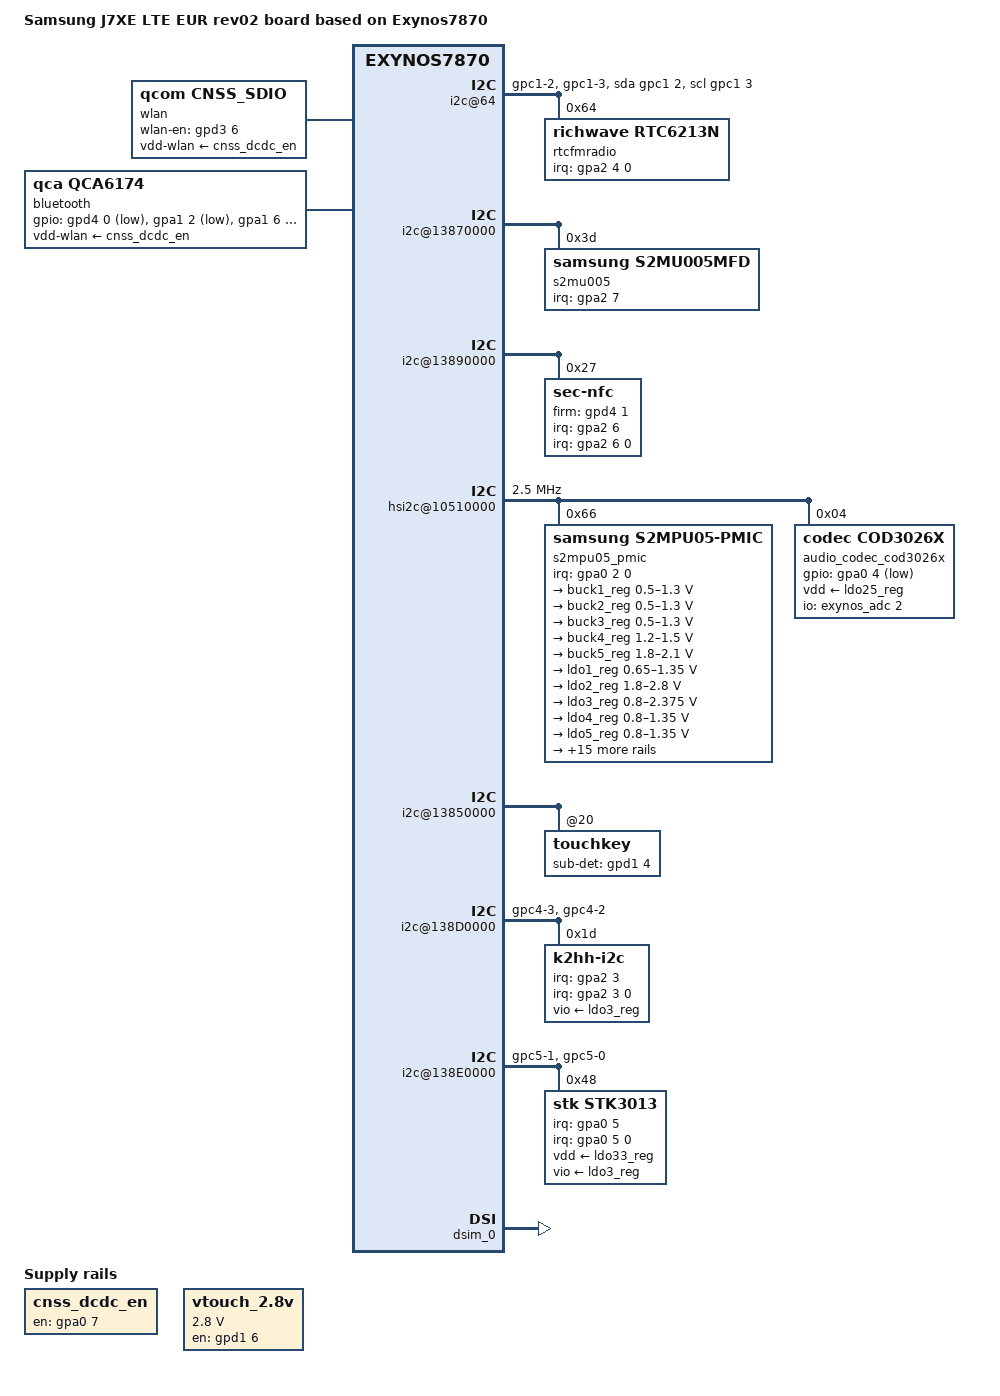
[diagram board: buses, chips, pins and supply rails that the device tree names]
/*
 * SAMSUNG UNIVERSAL8890 board device tree source
 *
 * Copyright (c) 2013 Samsung Electronics Co., Ltd.
 *		http://www.samsung.com
 *
 * This program is free software; you can redistribute it and/or modify
 * it under the terms of the GNU General Public License version 2 as
 * published by the Free Software Foundation.
*/

/dts-v1/;
#include "exynos7870-j7xelte_common.dtsi"
#include "modem-ss315ap-pdata.dtsi"
#include "exynos7870-j7xelte_eur_open_gpio_02.dtsi"
#include "exynos7870-j7xelte_eur_open_battery_01.dtsi"

/ {
	model = "Samsung J7XE LTE EUR rev02 board based on Exynos7870";
        model_info-chip = <7870>;
        model_info-platform = "android";
        model_info-subtype = "samsung";
        model_info-hw_rev = <2>;
        model_info-hw_rev_end = <2>;
	compatible = "samsung, J7XE LTE EUR OPEN 02", "samsung,exynos7870";

	i2c@64{
		compatible = "i2c-gpio";
		gpios = <&gpc1 2 0 /* sda */
				&gpc1 3 0 /* scl */
				>;
		i2c-gpio,delay-us = <2>;
		#address-cells = <1>;
		#size-cells = <0>;
		status = "okay";
		pinctrl-names = "default";
		pinctrl-0 = <&fmradio_i2c>;
		rtcfmradio@64 {
			compatible = "richwave,rtc6213n", "rtc6213n";
			reg = <0x64>;
			interrupts = <4 0 0>;
			interrupt-parent = <&gpa2>;
			pinctrl-names = "default";
			pinctrl-0 = <&fmradio_irq>;
		};
	};
		
	cnss_dcdc_en: cnss_dcdc_en {
		compatible = "regulator-fixed";
		regulator-name = "cnss_dcdc_en";
		startup-delay-us = <4000>;
		enable-active-high;
		gpio = <&gpa0 7 0>;
	};

	dwmmc2@13560000 {
		card-detect-invert-gpio;
	};

	i2c@13870000 {
		status = "okay";
		samsung,i2c-sda-delay = <100>;
		samsung,i2c-max-bus-freq = <400000>;

		s2mu005@3d {
			compatible = "samsung,s2mu005mfd";
			reg = <0x3d>;
			pinctrl-names = "default";
			pinctrl-0 = <&if_pmic_irq>;
			s2mu005,irq-gpio = <&gpa2 7 0>;
			s2mu005,wakeup;

			leds {
				flash-gpio = <&gpd3 2 0>;
				torch-gpio = <&gpd3 3 0>;

				flash_current = <1200>;
				preflash_current = <150>;
				movie_current = <175>; /*unused*/
				torch_current = <75>;
				factory_current = <300>;
				front_torch_current = <50>;

				status = "okay";
				s2mu005-leds1 {
					ledname = "leds-sec1";
					id = <0>;
					timeout = <15>; /* use gpio */
				};

				s2mu005-leds2 {
					ledname = "leds-sec2";
					id = <1>;
					timeout = <15>; /* use gpio */
				};
			};
		};
	};

	i2c@13890000{
		samsung,i2c-sda-delay = <100>;
		samsung,i2c-max-bus-freq = <300000>;
		status = "okay";
		#address-cells = <1>;
		#size-cells = <0>;

		sec-nfc@27 {
			compatible = "sec-nfc";
			reg = <0x27>;
			interrupts = <6 0 0>;
			interrupt-parent = <&gpa2>;
			sec-nfc,nfc_pd = <&gpc2 2 0x2>;
			sec-nfc,firm-gpio = <&gpd4 1 0>;
			sec-nfc,irq-gpio = <&gpa2 6 0>;
			clkctrl-reg = <0x1048600C>;
			sec-nfc,nfc_clkreq = <&gpc2 3 0x2>;
			sec-nfc,check_nfc = <&gpd1 2 0x0>;
			pinctrl-names = "default";
			pinctrl-0 = <&nfc_n5_firm &nfc_n5_clk_req &nfc_pd &nfc_int &ese_pvdd_en &nfc_det>;
		};
	};

	but_zones: but_zones {
		#list-but-cells = <3>;
	};	

	hsi2c@10510000 {
		status = "okay";
		samsung,hs-mode;
		clock-frequency = <2500000>;
		samsung,hsi2c-batcher;
		#address-cells = <1>;
		#size-cells = <0>;

		s2mpu05_pmic@66 {
			compatible = "samsung,s2mpu05-pmic";
			reg = <0x66>;
			ten-bit-address;
			interrupts = <2 0 0>;
			interrupt-parent = <&gpa0>;
			pinctrl-names = "default";
			pinctrl-0 = <&pmic_irq &pm_wrsti>;
			g3d_en = <1>; /* 1 : enable , 0 : disable */
			buck2en_pin = "etc1-3";
			buck2en_addr = "139B0080.pinctrl";
			/* RTC: wtsr/smpl */
			wtsr_en = <1>; /* enable */
			smpl_en = <1>; /* enable */
			wtsr_timer_val = <3>;   /* 1000ms */
			smpl_timer_val = <4>;   /* 500ms */
			check_jigon = <0>; /* do not check jigon */
			/* RTC: If it's first boot, reset rtc to 1/1/2016 12:00:00(Fri) */
			init_time,sec = <0>;
			init_time,min = <0>;
			init_time,hour = <12>;
			init_time,mday = <1>;
			init_time,mon = <0>;
			init_time,year = <116>;
			init_time,wday = <5>;

			regulators {
				buck1_reg: BUCK1 {
					regulator-name = "BUCK1";
					regulator-min-microvolt = <500000>;
					regulator-max-microvolt = <1300000>;
					regulator-always-on;
					regulator-boot-on;
					regulator-ramp-delay = <12000>;
					regulator-initial-mode = <1>;
					regulator-expected-consumer = <2>;
				};

				buck2_reg: BUCK2 {
					regulator-name = "BUCK2";
					regulator-min-microvolt = <500000>;
					regulator-max-microvolt = <1300000>;
					regulator-always-on;
					regulator-boot-on;
					regulator-ramp-delay = <12000>;
					regulator-initial-mode = <2>;		/* MIF mode */
					regulator-expected-consumer = <4>;
				};

				buck3_reg: BUCK3 {
					regulator-name = "BUCK3";
					regulator-min-microvolt = <500000>;
					regulator-max-microvolt = <1300000>;
					regulator-always-on;
					regulator-boot-on;
					regulator-ramp-delay = <12000>;
					regulator-initial-mode = <2>;
				};

				buck4_reg: BUCK4 {
					regulator-name = "BUCK4";
					regulator-min-microvolt = <1200000>;
					regulator-max-microvolt = <1500000>;
					regulator-always-on;
					regulator-boot-on;
					regulator-ramp-delay = <12000>;
					regulator-initial-mode = <2>;
				};

				buck5_reg: BUCK5 {
					regulator-name = "BUCK5";
					regulator-min-microvolt = <1800000>;
					regulator-max-microvolt = <2100000>;
					regulator-always-on;
					regulator-boot-on;
					regulator-ramp-delay = <12000>;
					regulator-initial-mode = <2>;
				};

				ldo1_reg: LDO1 {
					regulator-name = "vdd_ldo1";
					regulator-min-microvolt = <650000>;
					regulator-max-microvolt = <1350000>;
					regulator-always-on;
					regulator-boot-on;
					regulator-ramp-delay = <12000>;
					regulator-initial-mode = <3>;
				};

				ldo2_reg: LDO2 {
					regulator-name = "vqmmc";
					regulator-min-microvolt = <1800000>;
					regulator-max-microvolt = <2800000>;
					regulator-ramp-delay = <12000>;
					regulator-initial-mode = <0>;
				};

				ldo3_reg: LDO3 {
					regulator-name = "vdd_ldo3";
					regulator-min-microvolt = <800000>;
					regulator-max-microvolt = <2375000>;
					regulator-boot-on;
					regulator-always-on;
					regulator-ramp-delay = <12000>;
					regulator-initial-mode = <3>;
				};

				ldo4_reg: LDO4 {
					regulator-name = "vdd_ldo4";
					regulator-min-microvolt = <800000>;
					regulator-max-microvolt = <1350000>;
					regulator-boot-on;
					regulator-always-on;
					regulator-ramp-delay = <12000>;
					regulator-initial-mode = <1>;
				};

				ldo5_reg: LDO5 {
					regulator-name = "vdd_ldo5";
					regulator-min-microvolt = <800000>;
					regulator-max-microvolt = <1350000>;
					regulator-boot-on;
					regulator-always-on;
					regulator-ramp-delay = <12000>;
					regulator-initial-mode = <3>;
				};

				ldo6_reg: LDO6 {
					regulator-name = "vdd_ldo6";
					regulator-min-microvolt = <800000>;
					regulator-max-microvolt = <1350000>;
					regulator-boot-on;
					regulator-always-on;
					regulator-ramp-delay = <12000>;
					regulator-initial-mode = <1>;
				};

				ldo7_reg: LDO7 {
					regulator-name = "vdd_ldo7";
					regulator-min-microvolt = <800000>;
					regulator-max-microvolt = <2375000>;
					regulator-boot-on;
					regulator-always-on;
					regulator-ramp-delay = <12000>;
					regulator-initial-mode = <1>;
				};

				ldo8_reg: LDO8 {
					regulator-name = "vdd_ldo8";
					regulator-min-microvolt = <1800000>;
					regulator-max-microvolt = <3375000>;
					regulator-boot-on;
					regulator-always-on;
					regulator-ramp-delay = <12000>;
					regulator-initial-mode = <1>;
				};

				ldo9_reg: LDO9 {
					regulator-name = "vdd_ldo9";
					regulator-min-microvolt = <650000>;
					regulator-max-microvolt = <1350000>;
					regulator-always-on;
					regulator-ramp-delay = <12000>;
					regulator-initial-mode = <1>;
				};

				ldo10_reg: LDO10 {
					regulator-name = "vdd_ldo10";
					regulator-min-microvolt = <650000>;
					regulator-max-microvolt = <1350000>;
					regulator-always-on;
					regulator-ramp-delay = <12000>;
					regulator-initial-mode = <1>;
				};

				ldo25_reg: LDO25 {
					regulator-name = "vdd_ldo25";
					regulator-min-microvolt = <800000>;
					regulator-max-microvolt = <2375000>;
					regulator-ramp-delay = <12000>;
					regulator-initial-mode = <1>;
				};

				ldo26_reg: LDO26 {
					regulator-name = "vemmc";
					regulator-min-microvolt = <1800000>;
					regulator-max-microvolt = <3375000>;
					regulator-boot-on;
					regulator-ramp-delay = <12000>;
					regulator-initial-mode = <3>;
				};

				ldo27_reg: LDO27 {
					regulator-name = "vqemmc";
					regulator-min-microvolt = <800000>;
					regulator-max-microvolt = <2375000>;
					regulator-boot-on;
					regulator-ramp-delay = <12000>;
					regulator-initial-mode = <3>;
				};

				ldo29_reg: LDO29 {
					regulator-name = "LCD_3P0";
					regulator-min-microvolt = <3000000>;
					regulator-max-microvolt = <3000000>;
					regulator-boot-on;
					regulator-ramp-delay = <12000>;
					regulator-initial-mode = <3>;
				};

				ldo30_reg: LDO30 {
					regulator-name = "LCD_1P8";
					regulator-min-microvolt = <1800000>;
					regulator-max-microvolt = <1800000>;
					regulator-boot-on;
					regulator-ramp-delay = <12000>;
					regulator-initial-mode = <3>;
				};

				ldo31_reg: LDO31 {
					regulator-name = "vdd_ldo31";
					regulator-min-microvolt = <1800000>;
					regulator-max-microvolt = <3375000>;
					regulator-boot-on;
					regulator-always-on;
					regulator-ramp-delay = <12000>;
					regulator-initial-mode = <1>;
				};

				ldo32_reg: LDO32 {
					regulator-name = "VDD_MOTOR_3.3";
					regulator-min-microvolt = <3300000>;
					regulator-max-microvolt = <3300000>;
					regulator-ramp-delay = <12000>;
				};

				ldo33_reg: LDO33 {
					regulator-name = "vdd_sensor_3p3";
					regulator-min-microvolt = <3300000>;
					regulator-max-microvolt = <3300000>;
					regulator-ramp-delay = <12000>;
					regulator-initial-mode = <3>;
				};

				ldo34_reg: LDO34 {
					regulator-name = "tsp_dvdd";
					regulator-min-microvolt = <3300000>;
					regulator-max-microvolt = <3300000>;
					regulator-ramp-delay = <12000>;
					regulator-initial-mode = <1>;
				};

				ldo35_reg: LDO35 {
					regulator-name = "VDD_CAM_SENSOR_A2P8";
					regulator-min-microvolt = <2800000>;
					regulator-max-microvolt = <2800000>;
					regulator-initial-mode = <0>;
				};
			};
		};

		audio_codec_cod3026x: cod3026x@04 {
			compatible = "codec,cod3026x";
			reg = <0x04>;
			ten-bit-address;
			vdd-supply = <&ldo25_reg>;
			pinctrl-names = "default";
			pinctrl-0 = <&cod3026_irq>;
			interrupt-parent = <&gpa0>;
			gpios = <&gpa0 4 0xf>;
			mic-bias1-voltage = <1>;
			mic-bias2-voltage = <1>;
			mic-bias-ldo-voltage = <3>;
			use-det-adc-mode;
			io-channels = <&exynos_adc 2>;
			io-channel-names = "adc-jack";
			#io-channel-cells = <1>;
			io-channel-ranges;
			but-zones-list = <&but_zones 226 0 203>, /* send/end */
					<&but_zones 582 204 290>, /* google */
					<&but_zones 115 291 488>, /* vol up */
					<&but_zones 114 489 1000>; /* vol down */
			mic-adc-range = <1350>;
		};
	};

	wlan {
		compatible = "qcom,cnss_sdio";
		wlan-en-gpio = <&gpd3 6 0>; /* WLAN_EN */
		wlan-host-wake = <&gpa2 2 0>; /* WLAN_HOST_WAKE */
		vdd-wlan-supply = <&cnss_dcdc_en>; /* DCDC_EN regulator */
		pinctrl-names = "default";
		pinctrl-0 = <&cnss_wlanen &cfg_wlanhostwake>;
		status = "okay";
	};
	
	touch_3p3_en {
		compatible = "regulator-fixed";
		regulator-name = "vtouch_2.8v";
		regulator-min-microvolt = <2800000>;
		regulator-max-microvolt = <2800000>;
		gpio = <&gpd1 6 0>;
		enable-active-high;
	};

	i2c@13850000 {
		touchkey@20 {
			coreriver,sub-det-gpio = <&gpd1 4 0>;
			coreriver,regulator_ic = "vtouch_2.8v";
		};
	};

	bluetooth {
		compatible = "qca,qca6174";
		gpios = <&gpd4 0 0x1	/*BT_EN*/
				&gpa1 2 0x1	/*BT_WAKE*/
				&gpa1 6 0xF	/*BT_HOST_WAKE*/ >;
		vdd-wlan-supply = <&cnss_dcdc_en>; /* DCDC_EN regulator */
		pinctrl-names = "default";
		pinctrl-0=<&bt_hostwake &bt_btwake &bt_en>;
		status = "okay";
	};
	
	pinctrl@13750000 {
		sd1_cmd: sd1-cmd {
			samsung,pins = "gpr2-1";
			samsung,pin-function = <2>;
			samsung,pin-pud = <0>;
			samsung,pin-drv = <2>;
			samsung,pin-con-pdn = <2>;
			samsung,pin-pud-pdn = <3>;
		};
	};
	
	pinctrl@139F0000 {
		acc_int: acc_int {
			samsung,pins = "gpa2-3";
			samsung,pin-function = <0xf>;
			samsung,pin-pud = <0>;
			samsung,pin-drv = <0>;
		};

		prox_int: prox_int {
			samsung,pins = "gpa0-5";
			samsung,pin-function = <0xf>;
			samsung,pin-pud = <0>;
			samsung,pin-drv = <0>;
		};
	};

	pinctrl@139B0000 {
		sensor_i2c: sensor_i2c {
			samsung,pins = "gpc4-3", "gpc4-2";
			samsung,pin-function = <2>;
			samsung,pin-pud = <0>;
		};

		proxy_i2c: proxy_i2c {
			samsung,pins = "gpc5-1", "gpc5-0";
			samsung,pin-function = <2>;
			samsung,pin-pud = <0>;
		};
		
		nfc_det: nfc-det {
			samsung,pins = "gpd1-2";
			samsung,pin-function = <0>;
			samsung,pin-pud = <0>;
		};	
	};

	i2c@138D0000 {
		samsung,i2c-sda-delay = <100>;
		samsung,i2c-max-bus-freq = <400000>;
		status = "okay";
		#address-cells = <1>;
		#size-cells = <0>;
		pinctrl-names = "default";
		pinctrl-0 = <&sensor_i2c>;

		k2hh-i2c@1D {
			compatible = "k2hh-i2c";
			reg = <0x1D>;
			pinctrl-names = "default";
			pinctrl-0 = <&acc_int>;
			interrupt-parent = <&gpa2>;
			interrupts = <3 0 0>;
			k2hh,irq_gpio = <&gpa2 3 0>;
			k2hh,vio-supply = <&ldo3_reg>;
			k2hh,axis_map_x = <0>;
			k2hh,axis_map_y = <1>;
			k2hh,axis_map_z = <2>;
			k2hh,negate_x = <0>;
			k2hh,negate_y = <0>;
			k2hh,negate_z = <1>;
			k2hh,poll_interval = <100>;
			k2hh,min_interval = <2>;
		};
	};

	i2c@138E0000 {
		samsung,i2c-sda-delay = <100>;
		samsung,i2c-max-bus-freq = <400000>;
		status = "okay";
		#address-cells = <1>;
		#size-cells = <0>;
		pinctrl-names = "default";
		pinctrl-0 = <&proxy_i2c>;

		stk3013@48 {
			compatible = "stk,stk3013";
			reg = <0x48>;
			interrupt-parent = <&gpa0>;
			interrupts = <5 0 0>;
			pinctrl-names = "default";
			pinctrl-0 = <&prox_int>;
			stk,vdd-supply = <&ldo33_reg>;
			stk,vio-supply = <&ldo3_reg>;
			stk,irq-gpio = <&gpa0 5 0x00>;
			stk,state-reg = <0x2d>;
			stk,psctrl-reg = <0x70>;
			stk,alsctrl-reg = <0x2A>;
			stk,ledctrl-reg = <0xF8>;
			stk,wait-reg = <0x03>;
			stk,ps-thd-h = <20>;
			stk,ps-thd-l = <13>;
			stk,ps-cancel-thd-h = <9>;
			stk,ps-cancel-thd-l = <6>;
			stk,ps-cal-skip-adc = <10>;
			stk,ps-cal-fail-adc = <20>;
			stk,ps-default-offset = <3>;
			stk,transmittance = <500>;
		};
	};

	pinctrl@139F0000 {
		fmradio_irq: fmradio-irq {
			samsung,pins = "gpa2-4";
			samsung,pin-function = <0xf>;
			samsung,pin-pud = <0>;
			samsung,pin-drv = <0>;
		};
	};

	pinctrl@139B0000 {
		fmradio_i2c: fmradio-i2c {
			samsung,pins ="gpc1-2", "gpc1-3";
			samsung,pin-function = <3>;
			samsung,pin-pud = <0>;
			samsung,pin-drv = <0>;
		};
	};

	decon_fb@14830000 {
		gpios = <&gpd1 3 0xf>; /* te_signal XGPIO7 */
		psr_mode = <2>; /* 0: video mode, 1: DP command mode, 2: MIPI command mode */
		disp-pll-clk = <64000000>;
		disp-vclk = <64000000>;
		disp-eclk = <70000000>;
		disp-dvfs = <200000>;
		status = "okay";
	};

	dsim_0: dsim@14800000 {
		lcd_info = <&s6e3fa3>;
		decon_board = <&decon_board>;
		status = "okay";
	};

	decon_board: decon_board {
		gpio_lcd_rst = <&gpd3 4 0x1>;

		dsim_set_panel_power_enable {
			type =
			"regulator,enable",	"LCD_1P8",
			"regulator,enable",	"LCD_3P0",
			"delay,usleep",	"10000 11000";
		};
		dsim_set_panel_power_disable {
			type =
			"gpio,low",	"gpio_lcd_rst",
			"regulator,disable",	"LCD_3P0",
			"regulator,disable",	"LCD_1P8";
		};
		dsim_reset_panel {
			type =
			"gpio,high",	"gpio_lcd_rst",
			"delay,usleep",	"5000 6000",
			"gpio,low",	"gpio_lcd_rst",
			"delay,usleep",	"5000 6000",
			"gpio,high",	"gpio_lcd_rst",
			"delay,usleep",	"10000 11000";
		};
	};

	s6e3fa3: s6e3fa3_fhd {
		mode = <2>; /* 0: video mode, 1: DP command mode, 2: MIPI command mode */
		resolution = <720 1280>;
		size = <68 121>;
		ddi_type = <0>;
		timing,refresh = <60>;
		timing,h-porch = <1 1 1>;
		timing,v-porch = <10 3 1>;
		timing,dsi-hs-clk = <1100>;
		timing,pms = <3 127 0>;
		timing,dsi-escape-clk = <16>;
	};

	fimc_is_module_3l2: fimc-is_sensor_3l2@2D {
		gpio_camaf_2p8_en = <&gpa1 5 0x1>; /* CAM_AF_2P8 enable pin */
	};
};
